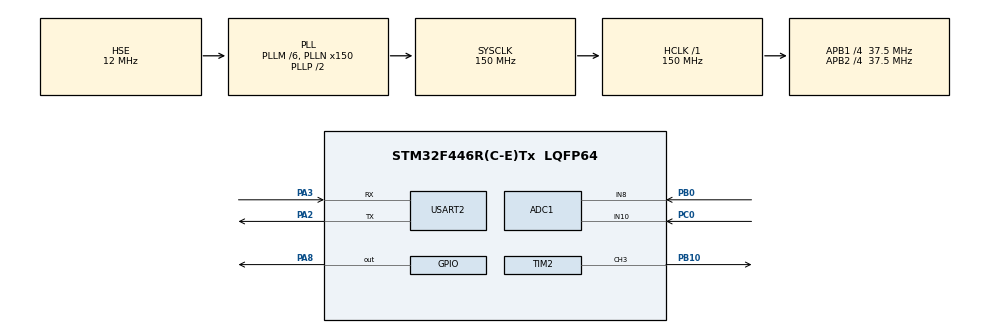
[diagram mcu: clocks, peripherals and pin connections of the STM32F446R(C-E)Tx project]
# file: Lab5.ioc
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ADC1.Channel-0\#ChannelRegularConversion=ADC_CHANNEL_8
ADC1.Channel-1\#ChannelRegularConversion=ADC_CHANNEL_10
ADC1.NbrOfConversion=2
ADC1.NbrOfConversionFlag=1
ADC1.Rank-0\#ChannelRegularConversion=1
ADC1.Rank-1\#ChannelRegularConversion=2
ADC1.SamplingTime-0\#ChannelRegularConversion=ADC_SAMPLETIME_3CYCLES
ADC1.SamplingTime-1\#ChannelRegularConversion=ADC_SAMPLETIME_3CYCLES
ADC1.ScanConvMode=ENABLE
ADC1.master=1
Dma.ADC1.0.Direction=DMA_PERIPH_TO_MEMORY
Dma.ADC1.0.FIFOMode=DMA_FIFOMODE_DISABLE
Dma.ADC1.0.Instance=DMA2_Stream0
Dma.ADC1.0.MemDataAlignment=DMA_MDATAALIGN_HALFWORD
Dma.ADC1.0.MemInc=DMA_MINC_ENABLE
Dma.ADC1.0.Mode=DMA_NORMAL
Dma.ADC1.0.PeriphDataAlignment=DMA_PDATAALIGN_HALFWORD
Dma.ADC1.0.PeriphInc=DMA_PINC_DISABLE
Dma.ADC1.0.Priority=DMA_PRIORITY_LOW
Dma.Request0=ADC1
Mcu.Family=STM32F4
Mcu.Name=STM32F446R(C-E)Tx
Mcu.Package=LQFP64
NVIC.DMA2_Stream0_IRQn=true\:0\:0\:false\:false\:true\:false\:true\:true
NVIC.PriorityGroup=NVIC_PRIORITYGROUP_4
NVIC.TIM6_DAC_IRQn=true\:0\:0\:false\:false\:true\:true\:true\:true
NVIC.USART2_IRQn=true\:0\:0\:false\:false\:true\:true\:true\:true
PA2.Mode=Asynchronous
PA2.Signal=USART2_TX
PA3.Mode=Asynchronous
PA3.Signal=USART2_RX
PA8.Signal=GPIO_Output
PB0.Signal=ADCx_IN8
PB10.Signal=S_TIM2_CH3
PC0.Signal=ADCx_IN10
PH0-OSC_IN.Mode=HSE-External-Oscillator
PH0-OSC_IN.Signal=RCC_OSC_IN
PH1-OSC_OUT.Mode=HSE-External-Oscillator
PH1-OSC_OUT.Signal=RCC_OSC_OUT
ProjectManager.HeapSize=0x200
ProjectManager.StackSize=0x400
ProjectManager.TargetToolchain=STM32CubeIDE
RCC.AHBFreq_Value=150000000
RCC.APB1CLKDivider=RCC_HCLK_DIV4
RCC.APB1Freq_Value=37500000
RCC.APB1TimFreq_Value=75000000
RCC.APB2CLKDivider=RCC_HCLK_DIV4
RCC.APB2Freq_Value=37500000
RCC.APB2TimFreq_Value=75000000
RCC.CortexFreq_Value=150000000
RCC.HCLKFreq_Value=150000000
RCC.HSE_VALUE=12000000
RCC.PLLM=6
RCC.PLLN=150
RCC.PLLSourceVirtual=RCC_PLLSOURCE_HSE
RCC.SYSCLKFreq_VALUE=150000000
RCC.SYSCLKSource=RCC_SYSCLKSOURCE_PLLCLK
RCC.USBFreq_Value=150000000
RCC.VCOOutputFreq_Value=300000000
SH.ADCx_IN10.0=ADC1_IN10,IN10
SH.ADCx_IN8.0=ADC1_IN8,IN8
SH.S_TIM2_CH3.0=TIM2_CH3,PWM Generation3 CH3
TIM2.Channel-PWM\ Generation3\ CH3=TIM_CHANNEL_3
TIM2.Period=999
TIM2.Prescaler=74
TIM2.Pulse-PWM\ Generation3\ CH3=500
TIM6.Period=1999
TIM6.Prescaler=74
USART2.VirtualMode=VM_ASYNC
VP_TIM2_VS_ClockSourceINT.Mode=Internal
VP_TIM6_VS_ClockSourceINT.Mode=Enable_Timer
board=custom

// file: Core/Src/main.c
/* USER CODE BEGIN Header */
/**
 ******************************************************************************
 * @file           : main.c
 * @brief          : Main program body
 ******************************************************************************
 * @attention
 *
 * Copyright (c) 2024 STMicroelectronics.
 * All rights reserved.
 *
 * This software is licensed under terms that can be found in the LICENSE file
 * in the root directory of this software component.
 * If no LICENSE file comes with this software, it is provided AS-IS.
 *
 ******************************************************************************
 */
/* USER CODE END Header */
#include "main.h"

 ADC_HandleTypeDef hadc1;
DMA_HandleTypeDef hdma_adc1;

TIM_HandleTypeDef htim2;
TIM_HandleTypeDef htim6;

UART_HandleTypeDef huart2;

void SystemClock_Config(void);
static void MX_GPIO_Init(void);
static void MX_DMA_Init(void);
static void MX_ADC1_Init(void);
static void MX_TIM2_Init(void);
static void MX_USART2_UART_Init(void);
static void MX_TIM6_Init(void);

/* USER CODE BEGIN 0 */
/* USER CODE BEGIN 0 */
// PID регулятор
typedef struct {
    float kp;
    float ki;
    float kd;
    float previous_error;
    float integral;
} PID_Controller;

PID_Controller pid = {0.8, 0, 0.5, 0, 0}; // Настройки PID
uint16_t buff[4] = { };
uint16_t data[2] = { };

uint16_t pos = 0;
uint16_t aim = 0;
int16_t control = 0;

void send_telemetry() {
    buff[0] = pos;
    buff[1] = aim;
    buff[2] = (uint16_t)abs(aim - pos);
    buff[3] = (uint16_t)abs(control);
    HAL_UART_Transmit_IT(&huart2, (uint8_t*) buff, 4);
}

float calculate_pid(PID_Controller *pid, float setpoint, float measured) {
    float error = setpoint - measured;
    if (buff[2]/100 < 3){
    	error = 0;
    }
    pid->integral += error;
    float derivative = error - pid->previous_error;
    pid->previous_error = error;
    return (pid->kp * error) + (pid->ki * pid->integral) + (pid->kd * derivative);
}
/* USER CODE END 0 */

void HAL_TIM_PeriodElapsedCallback(TIM_HandleTypeDef *htim) {
    if (htim->Instance == TIM6) {
        HAL_ADC_Start_DMA(&hadc1, data, 2);
        pos = data[1];
        aim = data[0];

        control = (int16_t)calculate_pid(&pid, aim, pos);

        if (control > 0) {
            HAL_GPIO_WritePin(GPIOA, GPIO_PIN_8, GPIO_PIN_SET);
            __HAL_TIM_SET_COMPARE(&htim2, TIM_CHANNEL_3, control);
        } else {
            HAL_GPIO_WritePin(GPIOA, GPIO_PIN_8, GPIO_PIN_RESET);
            __HAL_TIM_SET_COMPARE(&htim2, TIM_CHANNEL_3, -control);
        }

        send_telemetry();
    }
}
/* USER CODE END 0 */

int main(void)
{

  /* MCU Configuration--------------------------------------------------------*/

  /* Reset of all peripherals, Initializes the Flash interface and the Systick. */
  HAL_Init();

  /* Configure the system clock */
  SystemClock_Config();

  /* Initialize all configured peripherals */
  MX_GPIO_Init();
  MX_DMA_Init();
  MX_ADC1_Init();
  MX_TIM2_Init();
  MX_USART2_UART_Init();
  MX_TIM6_Init();
  /* USER CODE BEGIN 2 */

	HAL_TIM_PWM_Start(&htim2, TIM_CHANNEL_3);
	HAL_TIM_Base_Start_IT(&htim6);

  /* USER CODE END 2 */

  /* Infinite loop */
	while (1) {

	}
}

void SystemClock_Config(void)
{
  RCC_OscInitTypeDef RCC_OscInitStruct = {0};
  RCC_ClkInitTypeDef RCC_ClkInitStruct = {0};

  /** Configure the main internal regulator output voltage
  */
  __HAL_RCC_PWR_CLK_ENABLE();
  __HAL_PWR_VOLTAGESCALING_CONFIG(PWR_REGULATOR_VOLTAGE_SCALE1);

  /** Initializes the RCC Oscillators according to the specified parameters
  * in the RCC_OscInitTypeDef structure.
  */
  RCC_OscInitStruct.OscillatorType = RCC_OSCILLATORTYPE_HSE;
  RCC_OscInitStruct.HSEState = RCC_HSE_ON;
  RCC_OscInitStruct.PLL.PLLState = RCC_PLL_ON;
  RCC_OscInitStruct.PLL.PLLSource = RCC_PLLSOURCE_HSE;
  RCC_OscInitStruct.PLL.PLLM = 6;
  RCC_OscInitStruct.PLL.PLLN = 150;
  RCC_OscInitStruct.PLL.PLLP = RCC_PLLP_DIV2;
  RCC_OscInitStruct.PLL.PLLQ = 2;
  RCC_OscInitStruct.PLL.PLLR = 2;
  if (HAL_RCC_OscConfig(&RCC_OscInitStruct) != HAL_OK)
  {
    Error_Handler();
  }

  /** Initializes the CPU, AHB and APB buses clocks
  */
  RCC_ClkInitStruct.ClockType = RCC_CLOCKTYPE_HCLK|RCC_CLOCKTYPE_SYSCLK
                              |RCC_CLOCKTYPE_PCLK1|RCC_CLOCKTYPE_PCLK2;
  RCC_ClkInitStruct.SYSCLKSource = RCC_SYSCLKSOURCE_PLLCLK;
  RCC_ClkInitStruct.AHBCLKDivider = RCC_SYSCLK_DIV1;
  RCC_ClkInitStruct.APB1CLKDivider = RCC_HCLK_DIV4;
  RCC_ClkInitStruct.APB2CLKDivider = RCC_HCLK_DIV4;

  if (HAL_RCC_ClockConfig(&RCC_ClkInitStruct, FLASH_LATENCY_4) != HAL_OK)
  {
    Error_Handler();
  }
}

static void MX_ADC1_Init(void)
{

  ADC_ChannelConfTypeDef sConfig = {0};

  /** Configure the global features of the ADC (Clock, Resolution, Data Alignment and number of conversion)
  */
  hadc1.Instance = ADC1;
  hadc1.Init.ClockPrescaler = ADC_CLOCK_SYNC_PCLK_DIV2;
  hadc1.Init.Resolution = ADC_RESOLUTION_12B;
  hadc1.Init.ScanConvMode = ENABLE;
  hadc1.Init.ContinuousConvMode = DISABLE;
  hadc1.Init.DiscontinuousConvMode = DISABLE;
  hadc1.Init.ExternalTrigConvEdge = ADC_EXTERNALTRIGCONVEDGE_NONE;
  hadc1.Init.ExternalTrigConv = ADC_SOFTWARE_START;
  hadc1.Init.DataAlign = ADC_DATAALIGN_RIGHT;
  hadc1.Init.NbrOfConversion = 2;
  hadc1.Init.DMAContinuousRequests = DISABLE;
  hadc1.Init.EOCSelection = ADC_EOC_SINGLE_CONV;
  if (HAL_ADC_Init(&hadc1) != HAL_OK)
  {
    Error_Handler();
  }

  /** Configure for the selected ADC regular channel its corresponding rank in the sequencer and its sample time.
  */
  sConfig.Channel = ADC_CHANNEL_8;
  sConfig.Rank = 1;
  sConfig.SamplingTime = ADC_SAMPLETIME_3CYCLES;
  if (HAL_ADC_ConfigChannel(&hadc1, &sConfig) != HAL_OK)
  {
    Error_Handler();
  }

  /** Configure for the selected ADC regular channel its corresponding rank in the sequencer and its sample time.
  */
  sConfig.Channel = ADC_CHANNEL_10;
  sConfig.Rank = 2;
  if (HAL_ADC_ConfigChannel(&hadc1, &sConfig) != HAL_OK)
  {
    Error_Handler();
  }

}

static void MX_TIM2_Init(void)
{

  TIM_ClockConfigTypeDef sClockSourceConfig = {0};
  TIM_MasterConfigTypeDef sMasterConfig = {0};
  TIM_OC_InitTypeDef sConfigOC = {0};

  htim2.Instance = TIM2;
  htim2.Init.Prescaler = 74;
  htim2.Init.CounterMode = TIM_COUNTERMODE_UP;
  htim2.Init.Period = 999;
  htim2.Init.ClockDivision = TIM_CLOCKDIVISION_DIV1;
  htim2.Init.AutoReloadPreload = TIM_AUTORELOAD_PRELOAD_DISABLE;
  if (HAL_TIM_Base_Init(&htim2) != HAL_OK)
  {
    Error_Handler();
  }
  sClockSourceConfig.ClockSource = TIM_CLOCKSOURCE_INTERNAL;
  if (HAL_TIM_ConfigClockSource(&htim2, &sClockSourceConfig) != HAL_OK)
  {
    Error_Handler();
  }
  if (HAL_TIM_PWM_Init(&htim2) != HAL_OK)
  {
    Error_Handler();
  }
  sMasterConfig.MasterOutputTrigger = TIM_TRGO_RESET;
  sMasterConfig.MasterSlaveMode = TIM_MASTERSLAVEMODE_DISABLE;
  if (HAL_TIMEx_MasterConfigSynchronization(&htim2, &sMasterConfig) != HAL_OK)
  {
    Error_Handler();
  }
  sConfigOC.OCMode = TIM_OCMODE_PWM1;
  sConfigOC.Pulse = 500;
  sConfigOC.OCPolarity = TIM_OCPOLARITY_HIGH;
  sConfigOC.OCFastMode = TIM_OCFAST_DISABLE;
  if (HAL_TIM_PWM_ConfigChannel(&htim2, &sConfigOC, TIM_CHANNEL_3) != HAL_OK)
  {
    Error_Handler();
  }
  HAL_TIM_MspPostInit(&htim2);

}

static void MX_TIM6_Init(void)
{

  TIM_MasterConfigTypeDef sMasterConfig = {0};

  htim6.Instance = TIM6;
  htim6.Init.Prescaler = 74;
  htim6.Init.CounterMode = TIM_COUNTERMODE_UP;
  htim6.Init.Period = 1999;
  htim6.Init.AutoReloadPreload = TIM_AUTORELOAD_PRELOAD_DISABLE;
  if (HAL_TIM_Base_Init(&htim6) != HAL_OK)
  {
    Error_Handler();
  }
  sMasterConfig.MasterOutputTrigger = TIM_TRGO_RESET;
  sMasterConfig.MasterSlaveMode = TIM_MASTERSLAVEMODE_DISABLE;
  if (HAL_TIMEx_MasterConfigSynchronization(&htim6, &sMasterConfig) != HAL_OK)
  {
    Error_Handler();
  }

}

static void MX_USART2_UART_Init(void)
{

  huart2.Instance = USART2;
  huart2.Init.BaudRate = 115200;
  huart2.Init.WordLength = UART_WORDLENGTH_8B;
  huart2.Init.StopBits = UART_STOPBITS_1;
  huart2.Init.Parity = UART_PARITY_NONE;
  huart2.Init.Mode = UART_MODE_TX_RX;
  huart2.Init.HwFlowCtl = UART_HWCONTROL_NONE;
  huart2.Init.OverSampling = UART_OVERSAMPLING_16;
  if (HAL_UART_Init(&huart2) != HAL_OK)
  {
    Error_Handler();
  }

}

static void MX_DMA_Init(void)
{

  /* DMA controller clock enable */
  __HAL_RCC_DMA2_CLK_ENABLE();

  /* DMA interrupt init */
  /* DMA2_Stream0_IRQn interrupt configuration */
  HAL_NVIC_SetPriority(DMA2_Stream0_IRQn, 0, 0);
  HAL_NVIC_EnableIRQ(DMA2_Stream0_IRQn);

}

static void MX_GPIO_Init(void)
{
  GPIO_InitTypeDef GPIO_InitStruct = {0};

  /* GPIO Ports Clock Enable */
  __HAL_RCC_GPIOH_CLK_ENABLE();
  __HAL_RCC_GPIOC_CLK_ENABLE();
  __HAL_RCC_GPIOA_CLK_ENABLE();
  __HAL_RCC_GPIOB_CLK_ENABLE();

  /*Configure GPIO pin Output Level */
  HAL_GPIO_WritePin(GPIOA, GPIO_PIN_8, GPIO_PIN_RESET);

  /*Configure GPIO pin : PA8 */
  GPIO_InitStruct.Pin = GPIO_PIN_8;
  GPIO_InitStruct.Mode = GPIO_MODE_OUTPUT_PP;
  GPIO_InitStruct.Pull = GPIO_NOPULL;
  GPIO_InitStruct.Speed = GPIO_SPEED_FREQ_LOW;
  HAL_GPIO_Init(GPIOA, &GPIO_InitStruct);

}

void Error_Handler(void)
{
	__disable_irq();
	while (1) {
	}
}
